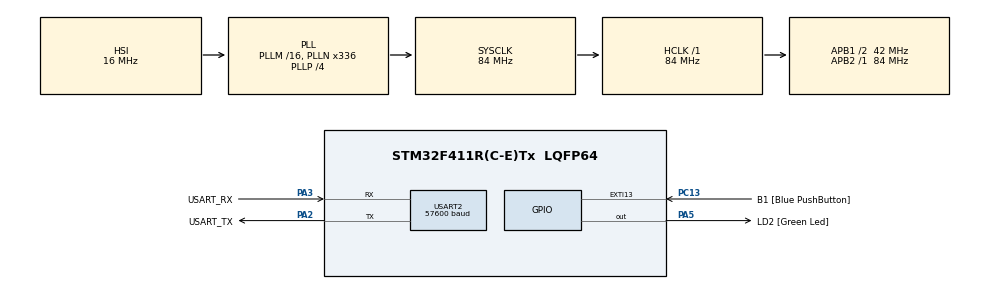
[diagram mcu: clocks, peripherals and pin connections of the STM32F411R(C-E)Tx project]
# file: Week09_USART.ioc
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Dma.Request0=USART2_RX
Dma.Request1=USART2_TX
Dma.USART2_RX.0.Direction=DMA_PERIPH_TO_MEMORY
Dma.USART2_RX.0.FIFOMode=DMA_FIFOMODE_DISABLE
Dma.USART2_RX.0.Instance=DMA1_Stream5
Dma.USART2_RX.0.MemDataAlignment=DMA_MDATAALIGN_BYTE
Dma.USART2_RX.0.MemInc=DMA_MINC_ENABLE
Dma.USART2_RX.0.Mode=DMA_CIRCULAR
Dma.USART2_RX.0.PeriphDataAlignment=DMA_PDATAALIGN_BYTE
Dma.USART2_RX.0.PeriphInc=DMA_PINC_DISABLE
Dma.USART2_RX.0.Priority=DMA_PRIORITY_LOW
Dma.USART2_TX.1.Direction=DMA_MEMORY_TO_PERIPH
Dma.USART2_TX.1.FIFOMode=DMA_FIFOMODE_DISABLE
Dma.USART2_TX.1.Instance=DMA1_Stream6
Dma.USART2_TX.1.MemDataAlignment=DMA_MDATAALIGN_BYTE
Dma.USART2_TX.1.MemInc=DMA_MINC_ENABLE
Dma.USART2_TX.1.Mode=DMA_NORMAL
Dma.USART2_TX.1.PeriphDataAlignment=DMA_PDATAALIGN_BYTE
Dma.USART2_TX.1.PeriphInc=DMA_PINC_DISABLE
Dma.USART2_TX.1.Priority=DMA_PRIORITY_LOW
Mcu.Family=STM32F4
Mcu.Name=STM32F411R(C-E)Tx
Mcu.Package=LQFP64
NVIC.DMA1_Stream5_IRQn=true\:0\:0\:false\:false\:true\:false\:true\:true
NVIC.DMA1_Stream6_IRQn=true\:0\:0\:false\:false\:true\:false\:true\:true
NVIC.PriorityGroup=NVIC_PRIORITYGROUP_0
NVIC.USART2_IRQn=true\:0\:0\:false\:false\:true\:true\:true\:true
PA13.GPIO_Label=TMS
PA13.Mode=Serial_Wire
PA13.Signal=SYS_JTMS-SWDIO
PA14.GPIO_Label=TCK
PA14.Mode=Serial_Wire
PA14.Signal=SYS_JTCK-SWCLK
PA2.GPIO_Label=USART_TX
PA2.Mode=Asynchronous
PA2.Signal=USART2_TX
PA3.GPIO_Label=USART_RX
PA3.Mode=Asynchronous
PA3.Signal=USART2_RX
PA5.GPIO_Label=LD2 [Green Led]
PA5.Signal=GPIO_Output
PB3.GPIO_Label=SWO
PB3.Signal=SYS_JTDO-SWO
PC13-ANTI_TAMP.GPIO_Label=B1 [Blue PushButton]
PC13-ANTI_TAMP.GPIO_ModeDefaultEXTI=GPIO_MODE_IT_FALLING
PC13-ANTI_TAMP.Signal=GPXTI13
PC14-OSC32_IN.Mode=LSE-External-Oscillator
PC14-OSC32_IN.Signal=RCC_OSC32_IN
PC15-OSC32_OUT.Mode=LSE-External-Oscillator
PC15-OSC32_OUT.Signal=RCC_OSC32_OUT
PH0\ -\ OSC_IN.Mode=HSE-External-Clock-Source
PH0\ -\ OSC_IN.Signal=RCC_OSC_IN
PH1\ -\ OSC_OUT.Mode=HSE-External-Clock-Source
PH1\ -\ OSC_OUT.Signal=RCC_OSC_OUT
ProjectManager.HeapSize=0x200
ProjectManager.StackSize=0x400
ProjectManager.TargetToolchain=STM32CubeIDE
RCC.48MHZClocksFreq_Value=84000000
RCC.AHBFreq_Value=84000000
RCC.APB1CLKDivider=RCC_HCLK_DIV2
RCC.APB1Freq_Value=42000000
RCC.APB1TimFreq_Value=84000000
RCC.APB2Freq_Value=84000000
RCC.APB2TimFreq_Value=84000000
RCC.CortexFreq_Value=84000000
RCC.FLatency-AdvancedSettings=FLASH_LATENCY_2
RCC.HCLKFreq_Value=84000000
RCC.HSE_VALUE=8000000
RCC.HSI_VALUE=16000000
RCC.PLLN=336
RCC.PLLP=RCC_PLLP_DIV4
RCC.SYSCLKFreq_VALUE=84000000
RCC.SYSCLKSource=RCC_SYSCLKSOURCE_PLLCLK
RCC.VCOOutputFreq_Value=336000000
USART2.BaudRate=57600
USART2.VirtualMode=VM_ASYNC
board=NUCLEO-F411RE

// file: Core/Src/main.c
/* USER CODE BEGIN Header */
/**
  ******************************************************************************
  * @file           : main.c
  * @brief          : Main program body
  ******************************************************************************
  * @attention
  *
  * Copyright (c) 2023 STMicroelectronics.
  * All rights reserved.
  *
  * This software is licensed under terms that can be found in the LICENSE file
  * in the root directory of this software component.
  * If no LICENSE file comes with this software, it is provided AS-IS.
  *
  ******************************************************************************
  */
/* USER CODE END Header */
#include "main.h"

/* USER CODE BEGIN Includes */
#include "stdio.h"
//ธนวัฒน์ พาวันทา
#include "string.h"
/* USER CODE END Includes */

UART_HandleTypeDef huart2;
DMA_HandleTypeDef hdma_usart2_rx;
DMA_HandleTypeDef hdma_usart2_tx;

/* USER CODE BEGIN PV */
uint8_t RxBuffer[20];
uint8_t TxBuffer[100];

enum State {INIT, LED_CONTROL, BUTTON_STATUS};
enum State processState = INIT;
uint8_t text[1500];

typedef struct ButtonStatus
{
	int8_t Command;
	int8_t CurrentStatus;

}Button;
Button button1 = {0};

typedef struct LEDStatus
{
	float    Frequency;
	int8_t   OnOffStatus;
}LED;
LED led = {50.0,0};

uint16_t dispF;
uint16_t period;
/* USER CODE END PV */

void SystemClock_Config(void);
static void MX_GPIO_Init(void);
static void MX_DMA_Init(void);
static void MX_USART2_UART_Init(void);
/* USER CODE BEGIN PFP */
void UARTPollingMethod();
void UARTDMAConfig();
void DummyTask();
void ButtonUpdate();
void dispButtonState();
/* USER CODE END PFP */

int main(void)
{

  /* MCU Configuration--------------------------------------------------------*/

  /* Reset of all peripherals, Initializes the Flash interface and the Systick. */
  HAL_Init();

  /* Configure the system clock */
  SystemClock_Config();

  /* Initialize all configured peripherals */
  MX_GPIO_Init();
  MX_DMA_Init();
  MX_USART2_UART_Init();
  /* USER CODE BEGIN 2 */

  sprintf((char*)text, "-----Program Start-----\r\n-----Main Manu-----\r\n~Press 0 for LED CONTROL.\r\n~Press 1 for BUTTON STATUS.\r\n");
  HAL_UART_Transmit_DMA(&huart2, text, strlen((char*)text));
//  sprintf((char*)text, "");
//  HAL_UART_Transmit_DMA(&huart2, text, strlen((char*)text));
  //print(text);
  UARTDMAConfig();

  /* USER CODE END 2 */

  /* Infinite loop */
  /* USER CODE BEGIN WHILE */
  while (1)
  {
	  //UARTPollingMethod();
	static uint32_t timestampBt = 0;
	if(HAL_GetTick() >= timestampBt)
	{
		timestampBt = HAL_GetTick() + 100;

		dispButtonState();
		ButtonUpdate();
	}
	DummyTask();

	  //HAL_GPIO_TogglePin(GPIOA, GPIO_PIN_0);
    /* USER CODE END WHILE */

  }
}

void SystemClock_Config(void)
{
  RCC_OscInitTypeDef RCC_OscInitStruct = {0};
  RCC_ClkInitTypeDef RCC_ClkInitStruct = {0};

  /** Configure the main internal regulator output voltage
  */
  __HAL_RCC_PWR_CLK_ENABLE();
  __HAL_PWR_VOLTAGESCALING_CONFIG(PWR_REGULATOR_VOLTAGE_SCALE1);

  /** Initializes the RCC Oscillators according to the specified parameters
  * in the RCC_OscInitTypeDef structure.
  */
  RCC_OscInitStruct.OscillatorType = RCC_OSCILLATORTYPE_HSI;
  RCC_OscInitStruct.HSIState = RCC_HSI_ON;
  RCC_OscInitStruct.HSICalibrationValue = RCC_HSICALIBRATION_DEFAULT;
  RCC_OscInitStruct.PLL.PLLState = RCC_PLL_ON;
  RCC_OscInitStruct.PLL.PLLSource = RCC_PLLSOURCE_HSI;
  RCC_OscInitStruct.PLL.PLLM = 16;
  RCC_OscInitStruct.PLL.PLLN = 336;
  RCC_OscInitStruct.PLL.PLLP = RCC_PLLP_DIV4;
  RCC_OscInitStruct.PLL.PLLQ = 4;
  if (HAL_RCC_OscConfig(&RCC_OscInitStruct) != HAL_OK)
  {
    Error_Handler();
  }

  /** Initializes the CPU, AHB and APB buses clocks
  */
  RCC_ClkInitStruct.ClockType = RCC_CLOCKTYPE_HCLK|RCC_CLOCKTYPE_SYSCLK
                              |RCC_CLOCKTYPE_PCLK1|RCC_CLOCKTYPE_PCLK2;
  RCC_ClkInitStruct.SYSCLKSource = RCC_SYSCLKSOURCE_PLLCLK;
  RCC_ClkInitStruct.AHBCLKDivider = RCC_SYSCLK_DIV1;
  RCC_ClkInitStruct.APB1CLKDivider = RCC_HCLK_DIV2;
  RCC_ClkInitStruct.APB2CLKDivider = RCC_HCLK_DIV1;

  if (HAL_RCC_ClockConfig(&RCC_ClkInitStruct, FLASH_LATENCY_2) != HAL_OK)
  {
    Error_Handler();
  }
}

static void MX_USART2_UART_Init(void)
{

  huart2.Instance = USART2;
  huart2.Init.BaudRate = 57600;
  huart2.Init.WordLength = UART_WORDLENGTH_8B;
  huart2.Init.StopBits = UART_STOPBITS_1;
  huart2.Init.Parity = UART_PARITY_NONE;
  huart2.Init.Mode = UART_MODE_TX_RX;
  huart2.Init.HwFlowCtl = UART_HWCONTROL_NONE;
  huart2.Init.OverSampling = UART_OVERSAMPLING_16;
  if (HAL_UART_Init(&huart2) != HAL_OK)
  {
    Error_Handler();
  }

}

static void MX_DMA_Init(void)
{

  /* DMA controller clock enable */
  __HAL_RCC_DMA1_CLK_ENABLE();

  /* DMA interrupt init */
  /* DMA1_Stream5_IRQn interrupt configuration */
  HAL_NVIC_SetPriority(DMA1_Stream5_IRQn, 0, 0);
  HAL_NVIC_EnableIRQ(DMA1_Stream5_IRQn);
  /* DMA1_Stream6_IRQn interrupt configuration */
  HAL_NVIC_SetPriority(DMA1_Stream6_IRQn, 0, 0);
  HAL_NVIC_EnableIRQ(DMA1_Stream6_IRQn);

}

static void MX_GPIO_Init(void)
{
  GPIO_InitTypeDef GPIO_InitStruct = {0};

  /* GPIO Ports Clock Enable */
  __HAL_RCC_GPIOC_CLK_ENABLE();
  __HAL_RCC_GPIOH_CLK_ENABLE();
  __HAL_RCC_GPIOA_CLK_ENABLE();
  __HAL_RCC_GPIOB_CLK_ENABLE();

  /*Configure GPIO pin Output Level */
  HAL_GPIO_WritePin(LD2_GPIO_Port, LD2_Pin, GPIO_PIN_RESET);

  /*Configure GPIO pin : B1_Pin */
  GPIO_InitStruct.Pin = B1_Pin;
  GPIO_InitStruct.Mode = GPIO_MODE_IT_FALLING;
  GPIO_InitStruct.Pull = GPIO_NOPULL;
  HAL_GPIO_Init(B1_GPIO_Port, &GPIO_InitStruct);

  /*Configure GPIO pin : LD2_Pin */
  GPIO_InitStruct.Pin = LD2_Pin;
  GPIO_InitStruct.Mode = GPIO_MODE_OUTPUT_PP;
  GPIO_InitStruct.Pull = GPIO_NOPULL;
  GPIO_InitStruct.Speed = GPIO_SPEED_FREQ_LOW;
  HAL_GPIO_Init(LD2_GPIO_Port, &GPIO_InitStruct);

}

/* USER CODE BEGIN 4 */
//void UARTPollingMethod()
//{
//	//Read UART 10 chars within 10 s
//	HAL_StatusTypeDef HAL_status = HAL_UART_Receive(&huart2, RxBuffer, 10, 10000);
//
//	//Read 10 chars complete in 10 s
//	if(HAL_status == HAL_OK)
//	{
//		//Add str stop symbol \0 to the end of str
//		RxBuffer[10] = '\0';
//
//		//Return received chars
//		sprintf((char*)TxBuffer, "Recieved : %s\r\n", RxBuffer);
//		HAL_UART_Transmit(&huart2, TxBuffer, strlen((char*)TxBuffer), 10);
//	}
//	//Timeout : print only rrecieved chars
//	else if (HAL_status == HAL_TIMEOUT)
//	{
//		//Add str stop symbol \0 to the end of str
//		uint32_t lastCharInd = huart2.RxXferSize - huart2.RxXferCount;
//		RxBuffer[lastCharInd] = '\0';
//
//		//Return recieved chars
//		sprintf((char*)TxBuffer, "Recieved Timeout: %s\r\n", RxBuffer);
//		HAL_UART_Transmit(&huart2, TxBuffer, strlen((char*)TxBuffer), 10);
//	}
//}

void UARTDMAConfig()
{
//	//Start UART in Interrupt mode
	//HAL_UART_Receive_IT(&huart2, RxBuffer, 10);

	//Start UART in DMA mode
	HAL_UART_Receive_DMA(&huart2, RxBuffer, 1);
}

void HAL_UART_RxCpltCallback(UART_HandleTypeDef *huart)
{
	if(huart == &huart2)
	{
		//Add str stop symbol \0 to the end of str
		RxBuffer[1] = '\0';

		//Return received chars
		sprintf((char*)TxBuffer, "Recieved Command: %s\r\n", RxBuffer);
		HAL_UART_Transmit(&huart2, TxBuffer, strlen((char*)TxBuffer), 100);

		//Recall Recieved
		//HAL_UART_Receive_IT(&huart2, RxBuffer, 10);
		switch(processState)
			{
			case INIT:
				if(RxBuffer[0] == '0')
				{
					processState = LED_CONTROL;
					sprintf((char*)text, "MODE : LED_CONTROL\r\n~Press d for ON/OFF LED.\r\n~Press a for speed up 1 Hz.\r\n~Press s for slow down 1 Hz.\r\n~Press x for go BACK.\r\n");
					HAL_UART_Transmit_DMA(&huart2, text, strlen((char*)text));
				}
				else if(RxBuffer[0] == '1')
				{
					processState = BUTTON_STATUS;
					sprintf((char*)text, "MODE : BUTTON_STATUS\r\n~Press x for go BACK.\r\n");
					HAL_UART_Transmit_DMA(&huart2, text, strlen((char*)text));
					button1.Command = 1;
				}
				else
				{
					sprintf((char*)text, "Not a command.\r\n");
					HAL_UART_Transmit_DMA(&huart2, text, strlen((char*)text));
					processState = INIT;
				}
			break;

			case LED_CONTROL:

				if(RxBuffer[0] == 'x')
				{
					processState = INIT;
					sprintf((char*)text, "BACK\r\n--------------------\r\n-----Main Manu-----\r\n~Press 0 for LED CONTROL.\r\n~Press 1 for BUTTON STATUS.\r\n");
					HAL_UART_Transmit_DMA(&huart2, text, strlen((char*)text));

				}
				else if(RxBuffer[0] == 'a')
				{
					led.Frequency += 1;
					dispF = led.Frequency;
					processState = LED_CONTROL;
					sprintf((char*)text, "LED Frequency +1 Hz\r\nCurrent Frequency = %d Hz.\r\n--------------------\r\nMODE : LED_CONTROL\r\n~Press d for ON/OFF LED.\r\n~Press a for speed up 1 Hz.\r\n~Press s for slow down 1 Hz.\r\n~Press x for go BACK.\r\n", dispF);
					HAL_UART_Transmit_DMA(&huart2, text, strlen((char*)text));

				}
				else if(RxBuffer[0] == 's')
				{
					if(led.Frequency > 1)
					{
						led.Frequency -= 1;
						dispF = led.Frequency;
						sprintf((char*)text, "LED Frequency -1 Hz\r\nCurrent Frequency = %d Hz.\r\n\r\n--------------------\r\nMODE : LED_CONTROL\r\n~Press d for ON/OFF LED.\r\n~Press a for speed up 1 Hz.\r\n~Press s for slow down 1 Hz.\r\n~Press x for go BACK.\r\n", dispF);
						HAL_UART_Transmit_DMA(&huart2, text, strlen((char*)text));
					}
					else
					{
						sprintf((char*)text, "Frequency can not less than one.\r\n\r\n--------------------\r\nMODE : LED_CONTROL\r\n~Press d for ON/OFF LED.\r\n~Press a for speed up 1 Hz.\r\n~Press s for slow down 1 Hz.\r\n~Press x for go BACK.\r\n");
						HAL_UART_Transmit_DMA(&huart2, text, strlen((char*)text));
					}
					processState = LED_CONTROL;
				}
				else if(RxBuffer[0] == 'd')
				{

					if(led.OnOffStatus == 1)
					{
						led.OnOffStatus = 0;
						sprintf((char*)text, "LED : OFF\r\n--------------------\r\nMODE : LED_CONTROL\r\n~Press d for ON/OFF LED.\r\n~Press a for speed up 1 Hz.\r\n~Press s for slow down 1 Hz.\r\n~Press x for go BACK.\r\n");
						HAL_UART_Transmit_DMA(&huart2, text, strlen((char*)text));
					}
					else if(led.OnOffStatus == 0)
					{
						led.OnOffStatus = 1;
						sprintf((char*)text, "LED : ON\r\n--------------------\r\nMODE : LED_CONTROL\r\n~Press d for ON/OFF LED.\r\n~Press a for speed up 1 Hz.\r\n~Press s for slow down 1 Hz.\r\n~Press x for go BACK.\r\n");
						HAL_UART_Transmit_DMA(&huart2, text, strlen((char*)text));
					}

					processState = LED_CONTROL;
				}
				else
				{
					sprintf((char*)text, "Not a command.\r\n--------------------\r\nMODE : LED_CONTROL\r\n~Press d for ON/OFF LED.\r\n~Press a for speed up 1 Hz.\r\n~Press s for slow down 1 Hz.\r\n~Press x for go BACK.\r\n");
					HAL_UART_Transmit_DMA(&huart2, text, strlen((char*)text));

					processState = LED_CONTROL;
				}
			break;

			case BUTTON_STATUS:

				if(RxBuffer[0] == 'x')
				{
					button1.Command = 0;
					sprintf((char*)text, "BACK\r\n--------------------\r\n-----Main Manu-----\r\n~Press 0 for LED CONTROL.\r\n~Press 1 for BUTTON STATUS.\r\n");
					HAL_UART_Transmit_DMA(&huart2, text, strlen((char*)text));
					processState = INIT;
				}
				else
				{
					sprintf((char*)text, "Not a command.\r\n");
					HAL_UART_Transmit_DMA(&huart2, text, strlen((char*)text));
					processState = BUTTON_STATUS;
				}

			break;
			}
	}
}

void dispButtonState()
{
	if(button1.Command == 1 && button1.CurrentStatus == 1)
		{
			sprintf((char*)text, "Button Status : Unpress \r\n");
			HAL_UART_Transmit_DMA(&huart2, text, strlen((char*)text));
		}
		else if(button1.Command == 1 && button1.CurrentStatus == 0)
		{
			sprintf((char*)text, "Button Status : Press \r\n");
			HAL_UART_Transmit_DMA(&huart2, text, strlen((char*)text));
		}
}
void DummyTask()
{
	static uint32_t timestampLED = 0;
	if(led.OnOffStatus == 1)
	{
		//Blink LED 5 Hz
		period = (1.0/led.Frequency)*1000;
		if(HAL_GetTick() >= timestampLED)
		{
			timestampLED = HAL_GetTick() + (1.0/led.Frequency)*1000;
			HAL_GPIO_TogglePin(LD2_GPIO_Port, LD2_Pin);
		}
	}
	else if(led.OnOffStatus == 0)
	{
		HAL_GPIO_WritePin(GPIOA, GPIO_PIN_5, 0);
		timestampLED = 0;
	}
}

void ButtonUpdate()
{
	button1.CurrentStatus =  HAL_GPIO_ReadPin(GPIOC, GPIO_PIN_13);
}

/* USER CODE END 4 */

void Error_Handler(void)
{
  __disable_irq();
  while (1)
  {
  }
}
